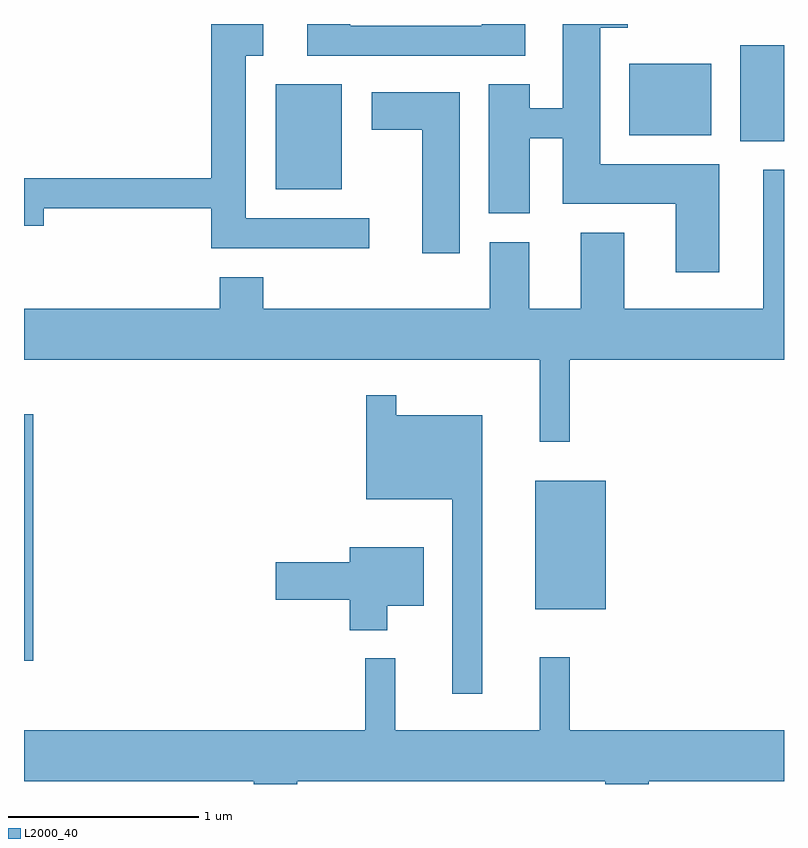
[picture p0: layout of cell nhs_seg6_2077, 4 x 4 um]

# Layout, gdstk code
import gdstk
lib = gdstk.Library(unit=1e-6, precision=1e-09)
def R(c, l, rs):  # rectangles x0, y0, x1, y1
    for r in rs: c.add(gdstk.rectangle(r[:2], r[2:], *l))
def P(c, l, *ps):  # polygons
    for p in ps: c.add(gdstk.Polygon(p, *l))
L2000_40 = (2000, 40)

nhs_seg6_2077 = lib.new_cell('nhs_seg6_2077')
R(nhs_seg6_2077, L2000_40, [(247.611,1632.811,247.659,1634.109), (250.301,1633.081,250.674,1633.759), (248.936,1635.291,249.284,1635.844), (251.381,1635.546,251.611,1636.049), (250.796,1635.576,251.229,1635.954)])
P(nhs_seg6_2077, L2000_40, [(250.249,1636.162),(250.021,1636.162),(250.021,1636.154),(249.329,1636.154),(249.329,1636.162),(249.101,1636.162),(249.101,1635.996),(250.249,1635.996)],
  [(249.428,1635.139),(248.779,1635.139),(248.779,1635.996),(248.869,1635.996),(248.869,1636.162),(248.596,1636.162),(248.596,1635.349),(247.611,1635.349),(247.611,1635.101),(247.714,1635.101),(247.714,1635.191),(248.596,1635.191),(248.596,1634.981),(249.428,1634.981)],
  [(251.269,1635.424),(250.644,1635.424),(250.644,1636.141),(250.789,1636.141),(250.789,1636.162),(250.446,1636.162),(250.446,1635.719),(250.274,1635.719),(250.274,1635.844),(250.056,1635.844),(250.056,1635.166),(250.274,1635.166),(250.274,1635.561),(250.446,1635.561),(250.446,1635.216),(251.041,1635.216),(251.041,1634.856),(251.269,1634.856)],
  [(249.904,1635.804),(249.441,1635.804),(249.441,1635.606),(249.706,1635.606),(249.706,1634.956),(249.904,1634.956)],
  [(250.484,1634.396),(251.611,1634.396),(251.611,1635.394),(251.501,1635.394),(251.501,1634.664),(250.769,1634.664),(250.769,1635.064),(250.541,1635.064),(250.541,1634.664),(250.269,1634.664),(250.269,1635.014),(250.061,1635.014),(250.061,1634.664),(248.869,1634.664),(248.869,1634.829),(248.641,1634.829),(248.641,1634.664),(247.611,1634.664),(247.611,1634.396),(250.326,1634.396),(250.326,1633.963),(250.484,1633.963)],
  [(250.024,1634.104),(249.569,1634.104),(249.569,1634.208),(249.411,1634.208),(249.411,1633.661),(249.866,1633.661),(249.866,1632.638),(250.024,1632.638)],
  [(249.524,1633.101),(249.714,1633.101),(249.714,1633.409),(249.326,1633.409),(249.326,1633.329),(248.936,1633.329),(248.936,1633.131),(249.326,1633.131),(249.326,1632.971),(249.524,1632.971)],
  [(249.049,1632.176),(250.671,1632.176),(250.671,1632.162),(250.899,1632.162),(250.899,1632.176),(251.611,1632.176),(251.611,1632.444),(250.484,1632.444),(250.484,1632.828),(250.326,1632.828),(250.326,1632.444),(249.564,1632.444),(249.564,1632.823),(249.406,1632.823),(249.406,1632.444),(247.611,1632.444),(247.611,1632.176),(248.821,1632.176),(248.821,1632.162),(249.049,1632.162)])

lib.write_gds('nhs_seg6_2077.gds')
